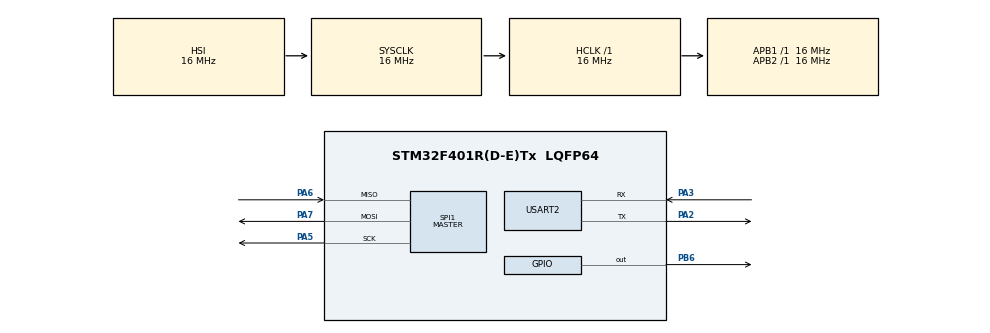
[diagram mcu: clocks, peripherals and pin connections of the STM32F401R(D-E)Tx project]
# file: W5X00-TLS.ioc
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Mcu.Family=STM32F4
Mcu.Name=STM32F401R(D-E)Tx
Mcu.Package=LQFP64
NVIC.PriorityGroup=NVIC_PRIORITYGROUP_4
PA2.Mode=Asynchronous
PA2.Signal=USART2_TX
PA3.Mode=Asynchronous
PA3.Signal=USART2_RX
PA5.Mode=Full_Duplex_Master
PA5.Signal=SPI1_SCK
PA6.Mode=Full_Duplex_Master
PA6.Signal=SPI1_MISO
PA7.Mode=Full_Duplex_Master
PA7.Signal=SPI1_MOSI
PB6.Signal=GPIO_Output
ProjectManager.HeapSize=0x200
ProjectManager.StackSize=0x400
ProjectManager.TargetToolchain=TrueSTUDIO
RCC.AHBFreq_Value=16000000
RCC.APB1Freq_Value=16000000
RCC.APB2Freq_Value=16000000
RCC.CortexFreq_Value=16000000
RCC.HSE_VALUE=25000000
RCC.HSI_VALUE=16000000
RCC.LSE_VALUE=32768
RCC.SYSCLKFreq_VALUE=16000000
RCC.VCOOutputFreq_Value=192000000
SPI1.BaudRatePrescaler=SPI_BAUDRATEPRESCALER_16
SPI1.Direction=SPI_DIRECTION_2LINES
SPI1.Mode=SPI_MODE_MASTER
SPI1.VirtualType=VM_MASTER
USART2.VirtualMode=VM_ASYNC
board=custom

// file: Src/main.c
/* USER CODE BEGIN Header */
/**
  ******************************************************************************
  * @file           : main.c
  * @brief          : Main program body
  ******************************************************************************
  * @attention
  *
  * <h2><center>&copy; Copyright (c) 2019 STMicroelectronics.
  * All rights reserved.</center></h2>
  *
  * This software component is licensed by ST under BSD 3-Clause license,
  * the "License"; You may not use this file except in compliance with the
  * License. You may obtain a copy of the License at:
  *                        opensource.org/licenses/BSD-3-Clause
  *
  ******************************************************************************
  */
/* USER CODE END Header */

#include "main.h"

/* USER CODE BEGIN Includes */
#include "stdio.h"
#include "SSLInterface.h"
#include "Ethernet/wizchip_conf.h"
#include "HexTrans.h"
/* USER CODE END Includes */

/* USER CODE BEGIN PD */
#define ETH_MAX_BUF_SIZE	2048
#define SERVER_PORT			8883
//#define SERVER_PORT			1883
/* USER CODE END PD */

SPI_HandleTypeDef hspi1;

UART_HandleTypeDef huart2;

/* USER CODE BEGIN PV */
wiz_NetInfo defaultNetInfo = { .mac = {0x00,0x08,0xdc,0xff,0xee,0xdd},
							.ip = {192,168,0,130},
							//.ip = {222,98,173,241},
							.sn = {255,255,255,0},
							.gw = {222,98,173,254},
							//.dns = {168, 126, 63, 1},
							.dns = {8, 8, 8, 8},
							.dhcp = NETINFO_STATIC};

unsigned char gServer_IP[4] = {192,168,0,232};
//unsigned char gServer_IP[4] = {222,98,173,239};
//unsigned char gServer_IP[4] = {222,98,173,230};
//unsigned char gServer_IP[4] = {192,168,0,230};
unsigned char ethBuf0[ETH_MAX_BUF_SIZE];
uint8_t rxData[2];

/* USER CODE END PV */

void SystemClock_Config(void);
static void MX_GPIO_Init(void);
static void MX_SPI1_Init(void);
static void MX_USART2_UART_Init(void);
/* USER CODE BEGIN PFP */
void print_network_information(void);

int _write(int fd, char *str, int len)
{
	for(int i=0; i<len; i++)
	{
		HAL_UART_Transmit(&huart2, (uint8_t *)&str[i], 1, 0xFFFF);
	}
	return len;
}

/* USER CODE END PFP */

int main(void)
{
  /* USER CODE BEGIN 1 */
  int len, server_fd = 0;
  unsigned int ret = 0;
  wiz_tls_context tlsContext;
  /* USER CODE END 1 */

  /* MCU Configuration--------------------------------------------------------*/

  /* Reset of all peripherals, Initializes the Flash interface and the Systick. */
  HAL_Init();

  /* Configure the system clock */
  SystemClock_Config();

  /* Initialize all configured peripherals */
  MX_GPIO_Init();
  MX_SPI1_Init();
  MX_USART2_UART_Init();
  /* USER CODE BEGIN 2 */
  printf("Hello! MBED TLS System \r\n");

  WIZCHIPInitialize();
#if _WIZCHIP_ == W5100
  HAL_Delay(3000);
#endif
#if _WIZCHIP_ == W5100S
  printf("version:%.2x\r\n", getVER());
  printf("TMSR:%.2x\r\n", getTMSR());
  //NETUNLOCK();
#endif

#if _WIZCHIP_ == W5200  ||  _WIZCHIP_ == W5500
  printf("version:%.2x\r\n", getVERSIONR());
#endif

  wizchip_setnetinfo(&defaultNetInfo);
  print_network_information();

  /*  initialize ssl context  */
  ret = wiz_tls_init(&tlsContext,&server_fd);
  printf("init [%d] \r\n", ret);

  /*  Connect to the ssl server  */
  wiz_tls_connect(&tlsContext, SERVER_PORT, gServer_IP);
  /* USER CODE END 2 */

  /* Infinite loop */
  /* USER CODE BEGIN WHILE */
  while (1)
  {

	/* Read data from SSL channel  */
	len = wiz_tls_read(&tlsContext, ethBuf0, ETH_MAX_BUF_SIZE);

	if(len > 0)
	{
		printf("%s : %d \r\n",ethBuf0, len);
		/*  Write data to the SSL channel  */
		wiz_tls_write(&tlsContext, ethBuf0, len);
	}

	if(strncmp((char *)ethBuf0,"end",3)==0)
	{
		/*  Send close notify  */
		if(wiz_tls_close_notify(&tlsContext) == 0)
			printf("SSL closed\r\n");

		/*  Free tls context  */
		wiz_tls_deinit(&tlsContext);
	}
    /* USER CODE END WHILE */

  }
}

void SystemClock_Config(void)
{
  RCC_OscInitTypeDef RCC_OscInitStruct = {0};
  RCC_ClkInitTypeDef RCC_ClkInitStruct = {0};

  /** Configure the main internal regulator output voltage
  */
  __HAL_RCC_PWR_CLK_ENABLE();
  __HAL_PWR_VOLTAGESCALING_CONFIG(PWR_REGULATOR_VOLTAGE_SCALE2);
  /** Initializes the CPU, AHB and APB busses clocks
  */
  RCC_OscInitStruct.OscillatorType = RCC_OSCILLATORTYPE_HSI;
  RCC_OscInitStruct.HSIState = RCC_HSI_ON;
  RCC_OscInitStruct.HSICalibrationValue = RCC_HSICALIBRATION_DEFAULT;
  RCC_OscInitStruct.PLL.PLLState = RCC_PLL_NONE;
  if (HAL_RCC_OscConfig(&RCC_OscInitStruct) != HAL_OK)
  {
    Error_Handler();
  }
  /** Initializes the CPU, AHB and APB busses clocks
  */
  RCC_ClkInitStruct.ClockType = RCC_CLOCKTYPE_HCLK|RCC_CLOCKTYPE_SYSCLK
                              |RCC_CLOCKTYPE_PCLK1|RCC_CLOCKTYPE_PCLK2;
  RCC_ClkInitStruct.SYSCLKSource = RCC_SYSCLKSOURCE_HSI;
  RCC_ClkInitStruct.AHBCLKDivider = RCC_SYSCLK_DIV1;
  RCC_ClkInitStruct.APB1CLKDivider = RCC_HCLK_DIV1;
  RCC_ClkInitStruct.APB2CLKDivider = RCC_HCLK_DIV1;

  if (HAL_RCC_ClockConfig(&RCC_ClkInitStruct, FLASH_LATENCY_0) != HAL_OK)
  {
    Error_Handler();
  }
}

static void MX_SPI1_Init(void)
{

  /* SPI1 parameter configuration*/
  hspi1.Instance = SPI1;
  hspi1.Init.Mode = SPI_MODE_MASTER;
  hspi1.Init.Direction = SPI_DIRECTION_2LINES;
  hspi1.Init.DataSize = SPI_DATASIZE_8BIT;
  hspi1.Init.CLKPolarity = SPI_POLARITY_LOW;
  hspi1.Init.CLKPhase = SPI_PHASE_1EDGE;
  hspi1.Init.NSS = SPI_NSS_SOFT;
  hspi1.Init.BaudRatePrescaler = SPI_BAUDRATEPRESCALER_2;
  hspi1.Init.FirstBit = SPI_FIRSTBIT_MSB;
  hspi1.Init.TIMode = SPI_TIMODE_DISABLE;
  hspi1.Init.CRCCalculation = SPI_CRCCALCULATION_DISABLE;
  hspi1.Init.CRCPolynomial = 10;
  if (HAL_SPI_Init(&hspi1) != HAL_OK)
  {
    Error_Handler();
  }

}

static void MX_USART2_UART_Init(void)
{

  huart2.Instance = USART2;
  huart2.Init.BaudRate = 115200;
  huart2.Init.WordLength = UART_WORDLENGTH_8B;
  huart2.Init.StopBits = UART_STOPBITS_1;
  huart2.Init.Parity = UART_PARITY_NONE;
  huart2.Init.Mode = UART_MODE_TX_RX;
  huart2.Init.HwFlowCtl = UART_HWCONTROL_NONE;
  huart2.Init.OverSampling = UART_OVERSAMPLING_16;
  if (HAL_UART_Init(&huart2) != HAL_OK)
  {
    Error_Handler();
  }

}

static void MX_GPIO_Init(void)
{
  GPIO_InitTypeDef GPIO_InitStruct = {0};

  /* GPIO Ports Clock Enable */
  __HAL_RCC_GPIOA_CLK_ENABLE();
  __HAL_RCC_GPIOB_CLK_ENABLE();

  /*Configure GPIO pin Output Level */
  HAL_GPIO_WritePin(GPIOB, GPIO_PIN_6, GPIO_PIN_RESET);

  /*Configure GPIO pin : PB6 */
  GPIO_InitStruct.Pin = GPIO_PIN_6;
  GPIO_InitStruct.Mode = GPIO_MODE_OUTPUT_PP;
  GPIO_InitStruct.Pull = GPIO_NOPULL;
  GPIO_InitStruct.Speed = GPIO_SPEED_FREQ_LOW;
  HAL_GPIO_Init(GPIOB, &GPIO_InitStruct);

}

/* USER CODE BEGIN 4 */
void print_network_information(void)
{
	wizchip_getnetinfo(&defaultNetInfo);
	printf("Mac address: %02x:%02x:%02x:%02x:%02x:%02x\n\r",defaultNetInfo.mac[0],defaultNetInfo.mac[1],defaultNetInfo.mac[2],defaultNetInfo.mac[3],defaultNetInfo.mac[4],defaultNetInfo.mac[5]);
	printf("IP address : %d.%d.%d.%d\n\r",defaultNetInfo.ip[0],defaultNetInfo.ip[1],defaultNetInfo.ip[2],defaultNetInfo.ip[3]);
	printf("SM Mask	   : %d.%d.%d.%d\n\r",defaultNetInfo.sn[0],defaultNetInfo.sn[1],defaultNetInfo.sn[2],defaultNetInfo.sn[3]);
	printf("Gate way   : %d.%d.%d.%d\n\r",defaultNetInfo.gw[0],defaultNetInfo.gw[1],defaultNetInfo.gw[2],defaultNetInfo.gw[3]);
	printf("DNS Server : %d.%d.%d.%d\n\r",defaultNetInfo.dns[0],defaultNetInfo.dns[1],defaultNetInfo.dns[2],defaultNetInfo.dns[3]);
}
/* USER CODE END 4 */

void Error_Handler(void)
{
}

/************************ (C) COPYRIGHT STMicroelectronics *****END OF FILE****/
